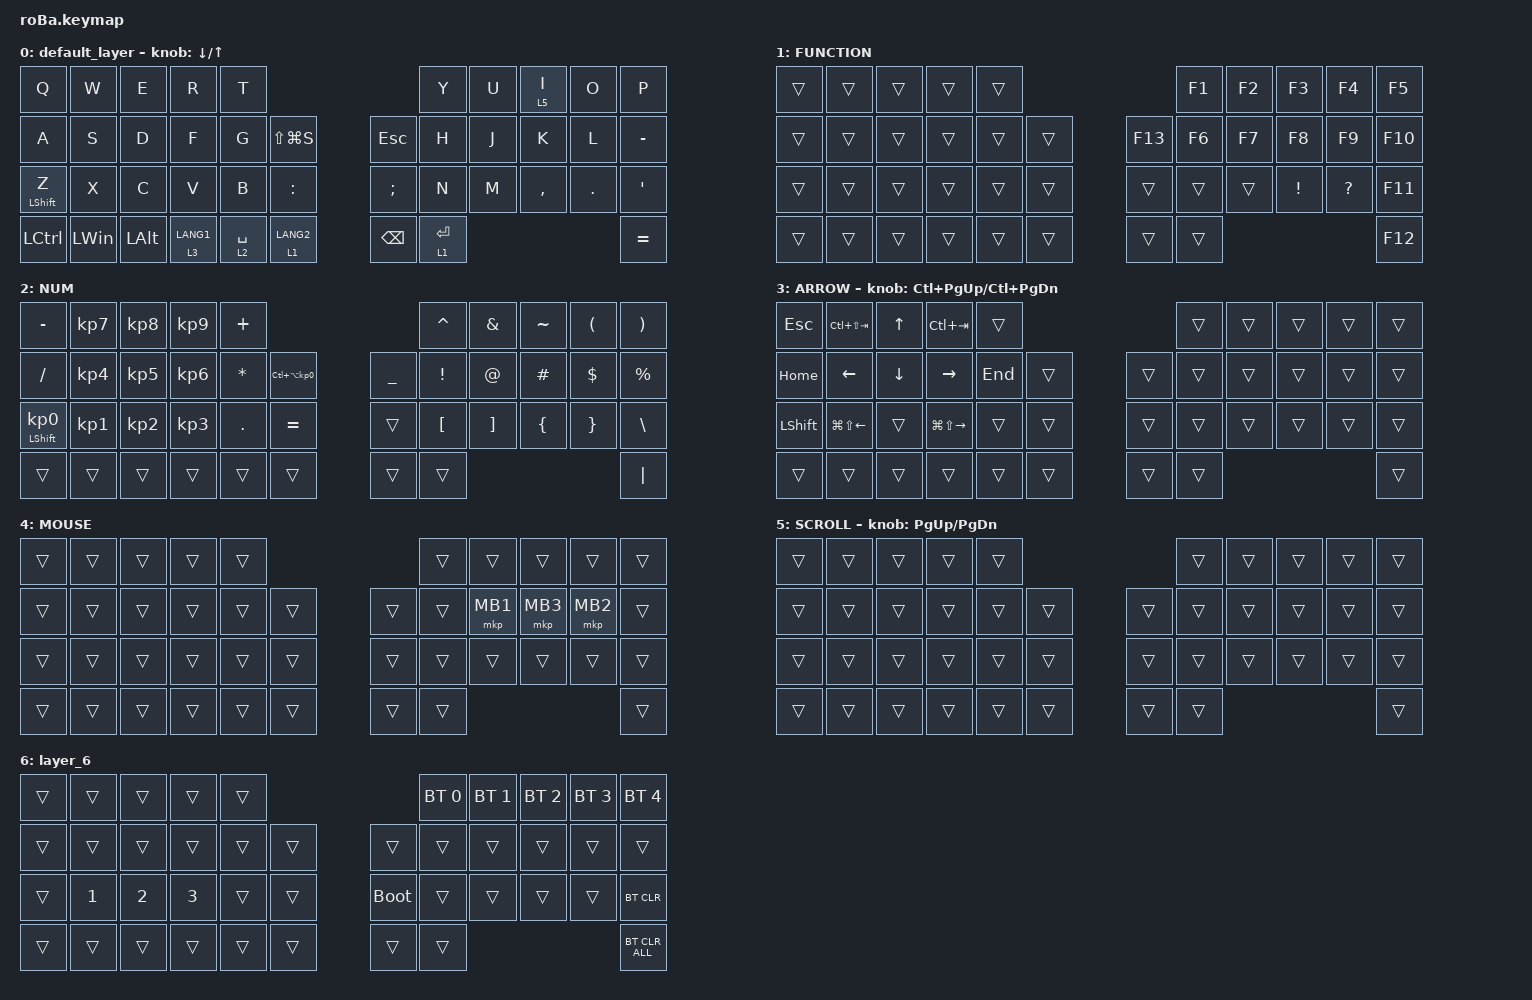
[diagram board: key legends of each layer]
#include <behaviors.dtsi>
#include <dt-bindings/zmk/bt.h>
#include <dt-bindings/zmk/keys.h>
#include <dt-bindings/zmk/pointing.h>

&mt {
    flavor = "balanced";
    quick-tap-ms = <0>;
};

&trackball {
    automouse-layer = <4>;
    scroll-layers = <5>;
};

/ {
    combos {
        compatible = "zmk,combos";

        tab {
            bindings = <&kp TAB>;
            key-positions = <11 12>;
        };

        shift_tab {
            bindings = <&kp LS(TAB)>;
            key-positions = <12 13>;
        };

        muhenkan {
            bindings = <&to_layer_0 INT_MUHENKAN>;
            key-positions = <11 10>;
        };

        double_quotation {
            bindings = <&kp DOUBLE_QUOTES>;
            key-positions = <20 21>;
        };

        eq {
            bindings = <&kp EQUAL>;
            key-positions = <24 25>;
        };

        hankaku_zenkaku {
            bindings = <&lt 5 GRAVE>;
            key-positions = <38 41>;
            timeout-ms = <100>;
        };
    };

    macros {
        to_layer_0: to_layer_0 {
            compatible = "zmk,behavior-macro-one-param";
            #binding-cells = <1>;
            bindings = <&to 0 &macro_param_1to1 &kp MACRO_PLACEHOLDER>;
            label = "TO_LAYER_0";
        };

        ime_on: ime_on {
            compatible = "zmk,behavior-macro";
            #binding-cells = <0>;
            bindings = <&kp LANG1>, <&kp INT_HENKAN>;
        };

        ime_off: ime_off {
            compatible = "zmk,behavior-macro";
            #binding-cells = <0>;
            bindings = <&kp LANG2>, <&kp INT_MUHENKAN>;
        };
    };

    behaviors {
        lt_to_layer_0: lt_to_layer_0 {
            compatible = "zmk,behavior-hold-tap";
            label = "LAYER_TAP_TO_0";
            bindings = <&mo>, <&to_layer_0>;

            #binding-cells = <2>;
            tapping-term-ms = <200>;
        };
    };

    keymap {
        compatible = "zmk,keymap";

        default_layer {
            bindings = <
&kp Q             &kp W         &kp E         &kp R                   &kp T                                                   &kp Y        &kp U  &lt 5 I    &kp O    &kp P
&kp A             &kp S         &kp D         &kp F                   &kp G        &kp LS(LG(S))               &kp ESCAPE     &kp H        &kp J  &kp K      &kp L    &kp MINUS
&mt LEFT_SHIFT Z  &kp X         &kp C         &kp V                   &kp B        &kp COLON                   &kp SEMICOLON  &kp N        &kp M  &kp COMMA  &kp DOT  &kp SQT
&kp LCTRL         &kp LEFT_WIN  &kp LEFT_ALT  &lt_to_layer_0 3 LANG1  &lt 2 SPACE  &lt_to_layer_0 1 LANG2      &kp BACKSPACE  &lt 1 ENTER                             &kp EQUAL
            >;

            sensor-bindings = <&inc_dec_kp DOWN_ARROW UP_ARROW>;
        };

        FUNCTION {
            bindings = <
&trans  &trans  &trans  &trans  &trans                       &kp F1  &kp F2  &kp F3           &kp F4        &kp F5
&trans  &trans  &trans  &trans  &trans  &trans      &kp F13  &kp F6  &kp F7  &kp F8           &kp F9        &kp F10
&trans  &trans  &trans  &trans  &trans  &trans      &trans   &trans  &trans  &kp EXCLAMATION  &kp QUESTION  &kp F11
&trans  &trans  &trans  &trans  &trans  &trans      &trans   &trans                                         &kp F12
            >;
        };

        NUM {
            bindings = <
&kp MINUS                   &kp KP_NUMBER_7  &kp KP_NUMBER_8  &kp KP_NUMBER_9  &kp PLUS                                                   &kp CARET         &kp AMPERSAND      &kp TILDE       &kp LEFT_PARENTHESIS  &kp RIGHT_PARENTHESIS
&kp SLASH                   &kp KP_NUMBER_4  &kp KP_NUMBER_5  &kp KP_NUMBER_6  &kp ASTERISK  &kp LC(LA(KP_NUMBER_0))      &kp UNDERSCORE  &kp EXCLAMATION   &kp AT_SIGN        &kp HASH        &kp DOLLAR            &kp PERCENT
&mt LEFT_SHIFT KP_NUMBER_0  &kp KP_NUMBER_1  &kp KP_NUMBER_2  &kp KP_NUMBER_3  &kp PERIOD    &kp EQUAL                    &trans          &kp LEFT_BRACKET  &kp RIGHT_BRACKET  &kp LEFT_BRACE  &kp RIGHT_BRACE       &kp BACKSLASH
&trans                      &trans           &trans           &trans           &trans        &trans                       &trans          &trans                                                                     &kp PIPE
            >;
        };

        ARROW {
            bindings = <
&kp ESCAPE      &kp LC(LS(TAB))         &kp UP_ARROW    &kp LC(TAB)              &trans                       &trans  &trans  &trans  &trans  &trans
&kp HOME        &kp LEFT_ARROW          &kp DOWN_ARROW  &kp RIGHT_ARROW          &kp END  &trans      &trans  &trans  &trans  &trans  &trans  &trans
&kp LEFT_SHIFT  &kp LG(LS(LEFT_ARROW))  &trans          &kp LG(LS(RIGHT_ARROW))  &trans   &trans      &trans  &trans  &trans  &trans  &trans  &trans
&trans          &trans                  &trans          &trans                   &trans   &trans      &trans  &trans                          &trans
            >;

            sensor-bindings = <&inc_dec_kp LC(PAGE_UP) LC(PAGE_DOWN)>;
        };

        MOUSE {
            bindings = <
&trans  &trans  &trans  &trans  &trans                      &trans  &trans    &trans    &trans    &trans
&trans  &trans  &trans  &trans  &trans  &trans      &trans  &trans  &mkp MB1  &mkp MB3  &mkp MB2  &trans
&trans  &trans  &trans  &trans  &trans  &trans      &trans  &trans  &trans    &trans    &trans    &trans
&trans  &trans  &trans  &trans  &trans  &trans      &trans  &trans                                &trans
            >;
        };

        SCROLL {
            bindings = <
&trans  &trans  &trans  &trans  &trans                      &trans  &trans  &trans  &trans  &trans
&trans  &trans  &trans  &trans  &trans  &trans      &trans  &trans  &trans  &trans  &trans  &trans
&trans  &trans  &trans  &trans  &trans  &trans      &trans  &trans  &trans  &trans  &trans  &trans
&trans  &trans  &trans  &trans  &trans  &trans      &trans  &trans                          &trans
            >;

            sensor-bindings = <&inc_dec_kp PAGE_UP PAGE_DOWN>;
        };

        layer_6 {
            bindings = <
&trans  &trans        &trans        &trans        &trans                           &bt BT_SEL 0  &bt BT_SEL 1  &bt BT_SEL 2  &bt BT_SEL 3  &bt BT_SEL 4
&trans  &trans        &trans        &trans        &trans  &trans      &trans       &trans        &trans        &trans        &trans        &trans
&trans  &kp NUMBER_1  &kp NUMBER_2  &kp NUMBER_3  &trans  &trans      &bootloader  &trans        &trans        &trans        &trans        &bt BT_CLR
&trans  &trans        &trans        &trans        &trans  &trans      &trans       &trans                                                  &bt BT_CLR_ALL
            >;
        };
    };
};
